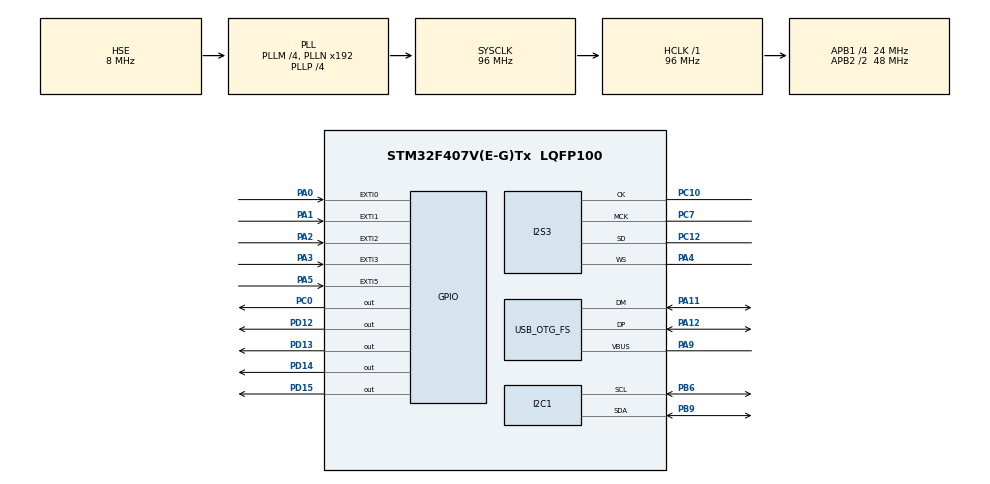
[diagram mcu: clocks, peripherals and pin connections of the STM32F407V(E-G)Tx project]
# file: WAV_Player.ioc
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Dma.Request0=SPI3_TX
Dma.SPI3_TX.0.Direction=DMA_MEMORY_TO_PERIPH
Dma.SPI3_TX.0.FIFOMode=DMA_FIFOMODE_ENABLE
Dma.SPI3_TX.0.FIFOThreshold=DMA_FIFO_THRESHOLD_FULL
Dma.SPI3_TX.0.Instance=DMA1_Stream5
Dma.SPI3_TX.0.MemBurst=DMA_MBURST_SINGLE
Dma.SPI3_TX.0.MemDataAlignment=DMA_MDATAALIGN_HALFWORD
Dma.SPI3_TX.0.MemInc=DMA_MINC_ENABLE
Dma.SPI3_TX.0.Mode=DMA_CIRCULAR
Dma.SPI3_TX.0.PeriphBurst=DMA_PBURST_SINGLE
Dma.SPI3_TX.0.PeriphDataAlignment=DMA_PDATAALIGN_HALFWORD
Dma.SPI3_TX.0.PeriphInc=DMA_PINC_DISABLE
Dma.SPI3_TX.0.Priority=DMA_PRIORITY_LOW
FATFS._USE_LFN=1
I2S3.AudioFreq=I2S_AUDIOFREQ_44K
I2S3.ErrorAudioFreq=0.26 %
I2S3.FullDuplexMode=I2S_FULLDUPLEXMODE_DISABLE
I2S3.Instance=SPI$Index
I2S3.RealAudioFreq=44.117 KHz
I2S3.VirtualMode=I2S_MODE_MASTER
Mcu.Family=STM32F4
Mcu.Name=STM32F407V(E-G)Tx
Mcu.Package=LQFP100
NVIC.DMA1_Stream5_IRQn=true\:0\:0\:false\:false\:true\:false\:true\:true
NVIC.EXTI0_IRQn=true\:0\:0\:false\:false\:true\:true\:true\:true
NVIC.EXTI1_IRQn=true\:0\:0\:false\:false\:true\:true\:true\:true
NVIC.EXTI2_IRQn=true\:0\:0\:false\:false\:true\:true\:true\:true
NVIC.EXTI3_IRQn=true\:0\:0\:false\:false\:true\:true\:true\:true
NVIC.EXTI9_5_IRQn=true\:0\:0\:false\:false\:true\:true\:true\:true
NVIC.OTG_FS_IRQn=true\:0\:0\:false\:false\:true\:false\:true\:true
NVIC.PriorityGroup=NVIC_PRIORITYGROUP_0
NVIC.TIM1_UP_TIM10_IRQn=true\:0\:0\:false\:false\:true\:false\:true\:true
NVIC.TimeBase=TIM1_UP_TIM10_IRQn
NVIC.TimeBaseIP=TIM1
PA0-WKUP.GPIO_ModeDefaultEXTI=GPIO_MODE_IT_RISING
PA0-WKUP.GPIO_PuPd=GPIO_PULLDOWN
PA0-WKUP.Signal=GPXTI0
PA1.GPIO_PuPd=GPIO_PULLDOWN
PA1.Signal=GPXTI1
PA11.Mode=Host_Only
PA11.Signal=USB_OTG_FS_DM
PA12.Mode=Host_Only
PA12.Signal=USB_OTG_FS_DP
PA2.GPIO_PuPd=GPIO_PULLDOWN
PA2.Signal=GPXTI2
PA3.GPIO_PuPd=GPIO_PULLDOWN
PA3.Signal=GPXTI3
PA4.Mode=Half_Duplex_Master
PA4.Signal=I2S3_WS
PA5.GPIO_PuPd=GPIO_PULLDOWN
PA5.Signal=GPXTI5
PA9.Mode=Activate_VBUS
PA9.Signal=USB_OTG_FS_VBUS
PB6.Mode=I2C
PB6.Signal=I2C1_SCL
PB9.Mode=I2C
PB9.Signal=I2C1_SDA
PC0.Signal=GPIO_Output
PC10.Mode=Half_Duplex_Master
PC10.Signal=I2S3_CK
PC12.Mode=Half_Duplex_Master
PC12.Signal=I2S3_SD
PC7.Mode=Master_Clock_Activated
PC7.Signal=I2S3_MCK
PD12.Signal=GPIO_Output
PD13.Signal=GPIO_Output
PD14.Signal=GPIO_Output
PD15.Signal=GPIO_Output
PH0-OSC_IN.Mode=HSE-External-Oscillator
PH0-OSC_IN.Signal=RCC_OSC_IN
PH1-OSC_OUT.Mode=HSE-External-Oscillator
PH1-OSC_OUT.Signal=RCC_OSC_OUT
ProjectManager.HeapSize=0x200
ProjectManager.StackSize=0x400
ProjectManager.TargetToolchain=STM32CubeIDE
RCC.48MHZClocksFreq_Value=48000000
RCC.AHBFreq_Value=96000000
RCC.APB1CLKDivider=RCC_HCLK_DIV4
RCC.APB1Freq_Value=24000000
RCC.APB1TimFreq_Value=48000000
RCC.APB2CLKDivider=RCC_HCLK_DIV2
RCC.APB2Freq_Value=48000000
RCC.APB2TimFreq_Value=96000000
RCC.CortexFreq_Value=96000000
RCC.HCLKFreq_Value=96000000
RCC.HSE_VALUE=8000000
RCC.HSI_VALUE=16000000
RCC.LSE_VALUE=32768
RCC.PLLM=4
RCC.PLLP=RCC_PLLP_DIV4
RCC.PLLQ=8
RCC.SYSCLKFreq_VALUE=96000000
RCC.SYSCLKSource=RCC_SYSCLKSOURCE_PLLCLK
RCC.VCOOutputFreq_Value=384000000
USB_HOST.BSP.number=1
USB_HOST.USBH_HandleTypeDef-MSC_FS=hUsbHostFS
USB_HOST.VirtualModeFS=Msc
USB_HOST0.BSP.STBoard=false
USB_HOST0.BSP.api=Unknown
USB_HOST0.BSP.instance=PC0
USB_HOST0.BSP.ip=GPIO
USB_HOST0.BSP.mode=Output
USB_HOST0.BSP.name=Drive_VBUS_FS
USB_HOST0.BSP.solution=PC0
USB_OTG_FS.VirtualMode=Host_Only
USB_OTG_FS.phy_itface=HCD_PHY_EMBEDDED
VP_FATFS_VS_USB.Mode=USB
VP_SYS_VS_tim1.Mode=TIM1
VP_USB_HOST_VS_USB_HOST_MSC_FS.Mode=MSC_FS
board=STM32F407G-DISC1

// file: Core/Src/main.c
/* USER CODE BEGIN Header */
/**
  ******************************************************************************
  * @file           : main.c
  * @brief          : Main program body
  ******************************************************************************
  * @attention
  *
  * Copyright (c) 2024 STMicroelectronics.
  * All rights reserved.
  *
  * This software is licensed under terms that can be found in the LICENSE file
  * in the root directory of this software component.
  * If no LICENSE file comes with this software, it is provided AS-IS.
  *
  ******************************************************************************
  */
/* USER CODE END Header */
#include "main.h"
#include "fatfs.h"
#include "usb_host.h"

/* USER CODE BEGIN Includes */

#include "waveplayer.h"
#include  "File_Handling.h"

/* USER CODE END Includes */

I2C_HandleTypeDef hi2c1;

I2S_HandleTypeDef hi2s3;
DMA_HandleTypeDef hdma_spi3_tx;

void SystemClock_Config(void);
static void MX_GPIO_Init(void);
static void MX_DMA_Init(void);
static void MX_I2S3_Init(void);
static void MX_I2C1_Init(void);
void MX_USB_HOST_Process(void);

/* USER CODE BEGIN 0 */

extern ApplicationTypeDef Appli_state;
extern AUDIO_PLAYBACK_StateTypeDef AudioState;

int IsFinixhed = 0;  // check player

/* USER CODE END 0 */

int main(void)
{

  /* MCU Configuration--------------------------------------------------------*/

  /* Reset of all peripherals, Initializes the Flash interface and the Systick. */
  HAL_Init();

  /* Configure the system clock */
  SystemClock_Config();

  /* Initialize all configured peripherals */
  MX_GPIO_Init();
  MX_DMA_Init();
  MX_I2S3_Init();
  MX_I2C1_Init();
  MX_USB_HOST_Init();
  MX_FATFS_Init();
  /* USER CODE BEGIN 2 */
  MX_DriverVbusFS(0);

  /* USER CODE END 2 */

  /* Infinite loop */
  while (1)
  {
    MX_USB_HOST_Process();

    /* USER CODE BEGIN 3 */

    // Check USB state
    if(Appli_state == APPLICATION_READY){
    	Mount_USB();
    	AUDIO_PLAYER_Start(0);    // index 0 == first file

    	// check player running
    	while(!IsFinixhed){
    		AUDIO_PLAYER_Process(TRUE); // auto play
    		if (AudioState == AUDIO_STATE_STOP) {
				IsFinixhed = 1;
			}
    	}
    }

  }
  /* USER CODE END 3 */
}

void SystemClock_Config(void)
{
  RCC_OscInitTypeDef RCC_OscInitStruct = {0};
  RCC_ClkInitTypeDef RCC_ClkInitStruct = {0};

  /** Configure the main internal regulator output voltage
  */
  __HAL_RCC_PWR_CLK_ENABLE();
  __HAL_PWR_VOLTAGESCALING_CONFIG(PWR_REGULATOR_VOLTAGE_SCALE1);

  /** Initializes the RCC Oscillators according to the specified parameters
  * in the RCC_OscInitTypeDef structure.
  */
  RCC_OscInitStruct.OscillatorType = RCC_OSCILLATORTYPE_HSE;
  RCC_OscInitStruct.HSEState = RCC_HSE_ON;
  RCC_OscInitStruct.PLL.PLLState = RCC_PLL_ON;
  RCC_OscInitStruct.PLL.PLLSource = RCC_PLLSOURCE_HSE;
  RCC_OscInitStruct.PLL.PLLM = 4;
  RCC_OscInitStruct.PLL.PLLN = 192;
  RCC_OscInitStruct.PLL.PLLP = RCC_PLLP_DIV4;
  RCC_OscInitStruct.PLL.PLLQ = 8;
  if (HAL_RCC_OscConfig(&RCC_OscInitStruct) != HAL_OK)
  {
    Error_Handler();
  }

  /** Initializes the CPU, AHB and APB buses clocks
  */
  RCC_ClkInitStruct.ClockType = RCC_CLOCKTYPE_HCLK|RCC_CLOCKTYPE_SYSCLK
                              |RCC_CLOCKTYPE_PCLK1|RCC_CLOCKTYPE_PCLK2;
  RCC_ClkInitStruct.SYSCLKSource = RCC_SYSCLKSOURCE_PLLCLK;
  RCC_ClkInitStruct.AHBCLKDivider = RCC_SYSCLK_DIV1;
  RCC_ClkInitStruct.APB1CLKDivider = RCC_HCLK_DIV4;
  RCC_ClkInitStruct.APB2CLKDivider = RCC_HCLK_DIV2;

  if (HAL_RCC_ClockConfig(&RCC_ClkInitStruct, FLASH_LATENCY_3) != HAL_OK)
  {
    Error_Handler();
  }
}

static void MX_I2C1_Init(void)
{

  hi2c1.Instance = I2C1;
  hi2c1.Init.ClockSpeed = 100000;
  hi2c1.Init.DutyCycle = I2C_DUTYCYCLE_2;
  hi2c1.Init.OwnAddress1 = 0;
  hi2c1.Init.AddressingMode = I2C_ADDRESSINGMODE_7BIT;
  hi2c1.Init.DualAddressMode = I2C_DUALADDRESS_DISABLE;
  hi2c1.Init.OwnAddress2 = 0;
  hi2c1.Init.GeneralCallMode = I2C_GENERALCALL_DISABLE;
  hi2c1.Init.NoStretchMode = I2C_NOSTRETCH_DISABLE;
  if (HAL_I2C_Init(&hi2c1) != HAL_OK)
  {
    Error_Handler();
  }

}

static void MX_I2S3_Init(void)
{

  hi2s3.Instance = SPI3;
  hi2s3.Init.Mode = I2S_MODE_MASTER_TX;
  hi2s3.Init.Standard = I2S_STANDARD_PHILIPS;
  hi2s3.Init.DataFormat = I2S_DATAFORMAT_16B;
  hi2s3.Init.MCLKOutput = I2S_MCLKOUTPUT_ENABLE;
  hi2s3.Init.AudioFreq = I2S_AUDIOFREQ_44K;
  hi2s3.Init.CPOL = I2S_CPOL_LOW;
  hi2s3.Init.ClockSource = I2S_CLOCK_PLL;
  hi2s3.Init.FullDuplexMode = I2S_FULLDUPLEXMODE_DISABLE;
  if (HAL_I2S_Init(&hi2s3) != HAL_OK)
  {
    Error_Handler();
  }

}

static void MX_DMA_Init(void)
{

  /* DMA controller clock enable */
  __HAL_RCC_DMA1_CLK_ENABLE();

  /* DMA interrupt init */
  /* DMA1_Stream5_IRQn interrupt configuration */
  HAL_NVIC_SetPriority(DMA1_Stream5_IRQn, 0, 0);
  HAL_NVIC_EnableIRQ(DMA1_Stream5_IRQn);

}

static void MX_GPIO_Init(void)
{
  GPIO_InitTypeDef GPIO_InitStruct = {0};

  /* GPIO Ports Clock Enable */
  __HAL_RCC_GPIOH_CLK_ENABLE();
  __HAL_RCC_GPIOC_CLK_ENABLE();
  __HAL_RCC_GPIOA_CLK_ENABLE();
  __HAL_RCC_GPIOD_CLK_ENABLE();
  __HAL_RCC_GPIOB_CLK_ENABLE();

  /*Configure GPIO pin Output Level */
  HAL_GPIO_WritePin(GPIOC, GPIO_PIN_0, GPIO_PIN_RESET);

  /*Configure GPIO pin Output Level */
  HAL_GPIO_WritePin(GPIOD, GPIO_PIN_12|GPIO_PIN_13|GPIO_PIN_14|GPIO_PIN_15, GPIO_PIN_RESET);

  /*Configure GPIO pin : PC0 */
  GPIO_InitStruct.Pin = GPIO_PIN_0;
  GPIO_InitStruct.Mode = GPIO_MODE_OUTPUT_PP;
  GPIO_InitStruct.Pull = GPIO_NOPULL;
  GPIO_InitStruct.Speed = GPIO_SPEED_FREQ_LOW;
  HAL_GPIO_Init(GPIOC, &GPIO_InitStruct);

  /*Configure GPIO pins : PA0 PA1 PA2 PA3
                           PA5 */
  GPIO_InitStruct.Pin = GPIO_PIN_0|GPIO_PIN_1|GPIO_PIN_2|GPIO_PIN_3
                          |GPIO_PIN_5;
  GPIO_InitStruct.Mode = GPIO_MODE_IT_RISING;
  GPIO_InitStruct.Pull = GPIO_PULLDOWN;
  HAL_GPIO_Init(GPIOA, &GPIO_InitStruct);

  /*Configure GPIO pins : PD12 PD13 PD14 PD15 */
  GPIO_InitStruct.Pin = GPIO_PIN_12|GPIO_PIN_13|GPIO_PIN_14|GPIO_PIN_15;
  GPIO_InitStruct.Mode = GPIO_MODE_OUTPUT_PP;
  GPIO_InitStruct.Pull = GPIO_NOPULL;
  GPIO_InitStruct.Speed = GPIO_SPEED_FREQ_LOW;
  HAL_GPIO_Init(GPIOD, &GPIO_InitStruct);

  /* EXTI interrupt init*/
  HAL_NVIC_SetPriority(EXTI0_IRQn, 0, 0);
  HAL_NVIC_EnableIRQ(EXTI0_IRQn);

  HAL_NVIC_SetPriority(EXTI1_IRQn, 0, 0);
  HAL_NVIC_EnableIRQ(EXTI1_IRQn);

  HAL_NVIC_SetPriority(EXTI2_IRQn, 0, 0);
  HAL_NVIC_EnableIRQ(EXTI2_IRQn);

  HAL_NVIC_SetPriority(EXTI3_IRQn, 0, 0);
  HAL_NVIC_EnableIRQ(EXTI3_IRQn);

  HAL_NVIC_SetPriority(EXTI9_5_IRQn, 0, 0);
  HAL_NVIC_EnableIRQ(EXTI9_5_IRQn);

}

/* USER CODE BEGIN 4 */
void mdelay(uint32_t delayvalue){
	uint32_t i;
	for (i = 0; i < delayvalue * 4000; ++i) {
	}
}

void HAL_GPIO_EXTI_Callback(uint16_t GPIO_Pin){
	UNUSED(GPIO_Pin);
	if (GPIO_Pin == GPIO_PIN_0){
		AudioState = (AudioState == AUDIO_STATE_PLAY) ? AUDIO_STATE_PAUSE : AUDIO_STATE_RESUME;
	}
	else if (GPIO_Pin == GPIO_PIN_1){
		AudioState = AUDIO_STATE_VOLUME_UP;
		HAL_GPIO_WritePin(GPIOD, GPIO_PIN_12, GPIO_PIN_SET);
		mdelay(100);
		HAL_GPIO_WritePin(GPIOD, GPIO_PIN_12, GPIO_PIN_RESET);
	}
	else if (GPIO_Pin == GPIO_PIN_2){
		AudioState = AUDIO_STATE_VOLUME_DOWN;
		HAL_GPIO_WritePin(GPIOD, GPIO_PIN_13, GPIO_PIN_SET);
		mdelay(100);
		HAL_GPIO_WritePin(GPIOD, GPIO_PIN_13, GPIO_PIN_RESET);
	}
	else if (GPIO_Pin == GPIO_PIN_3){
		AudioState = AUDIO_STATE_NEXT;
		HAL_GPIO_WritePin(GPIOD, GPIO_PIN_14, GPIO_PIN_SET);
		mdelay(100);
		HAL_GPIO_WritePin(GPIOD, GPIO_PIN_14, GPIO_PIN_RESET);
	}
	else if (GPIO_Pin == GPIO_PIN_5){
		AudioState = AUDIO_STATE_PREVIOUS;
		HAL_GPIO_WritePin(GPIOD, GPIO_PIN_15, GPIO_PIN_SET);
		mdelay(100);
		HAL_GPIO_WritePin(GPIOD, GPIO_PIN_15, GPIO_PIN_RESET);
	}
	else{
		__NOP();
	}

	// Ensure to clear the EXTI line's interrupt flag
	//HAL_GPIO_EXTI_IRQHandler(GPIO_Pin);
}

/* USER CODE END 4 */

void HAL_TIM_PeriodElapsedCallback(TIM_HandleTypeDef *htim)
{
  if (htim->Instance == TIM1) {
    HAL_IncTick();
  }
}

void Error_Handler(void)
{
  __disable_irq();
  while (1)
  {
  }
}
